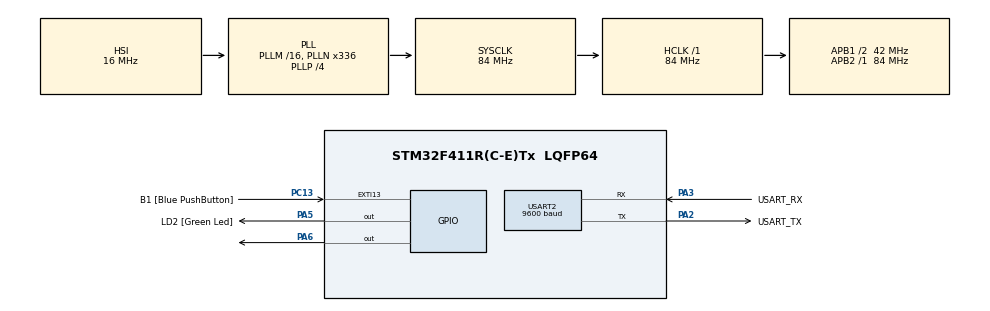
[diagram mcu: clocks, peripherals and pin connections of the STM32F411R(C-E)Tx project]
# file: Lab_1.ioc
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Mcu.Family=STM32F4
Mcu.Name=STM32F411R(C-E)Tx
Mcu.Package=LQFP64
NVIC.PriorityGroup=NVIC_PRIORITYGROUP_0
NVIC.USART2_IRQn=true\:0\:0\:false\:false\:true\:true\:true\:true
PA13.GPIO_Label=TMS
PA13.Mode=Serial_Wire
PA13.Signal=SYS_JTMS-SWDIO
PA14.GPIO_Label=TCK
PA14.Mode=Serial_Wire
PA14.Signal=SYS_JTCK-SWCLK
PA2.GPIO_Label=USART_TX
PA2.Mode=Asynchronous
PA2.Signal=USART2_TX
PA3.GPIO_Label=USART_RX
PA3.Mode=Asynchronous
PA3.Signal=USART2_RX
PA5.GPIO_Label=LD2 [Green Led]
PA5.Signal=GPIO_Output
PA6.Signal=GPIO_Output
PB3.GPIO_Label=SWO
PB3.Signal=SYS_JTDO-SWO
PC13-ANTI_TAMP.GPIO_Label=B1 [Blue PushButton]
PC13-ANTI_TAMP.GPIO_ModeDefaultEXTI=GPIO_MODE_IT_FALLING
PC13-ANTI_TAMP.Signal=GPXTI13
PC14-OSC32_IN.Mode=LSE-External-Oscillator
PC14-OSC32_IN.Signal=RCC_OSC32_IN
PC15-OSC32_OUT.Mode=LSE-External-Oscillator
PC15-OSC32_OUT.Signal=RCC_OSC32_OUT
PH0\ -\ OSC_IN.Mode=HSE-External-Oscillator
PH0\ -\ OSC_IN.Signal=RCC_OSC_IN
PH1\ -\ OSC_OUT.Mode=HSE-External-Oscillator
PH1\ -\ OSC_OUT.Signal=RCC_OSC_OUT
ProjectManager.HeapSize=0x200
ProjectManager.StackSize=0x400
ProjectManager.TargetToolchain=STM32CubeIDE
RCC.48MHZClocksFreq_Value=84000000
RCC.AHBFreq_Value=84000000
RCC.APB1CLKDivider=RCC_HCLK_DIV2
RCC.APB1Freq_Value=42000000
RCC.APB1TimFreq_Value=84000000
RCC.APB2Freq_Value=84000000
RCC.APB2TimFreq_Value=84000000
RCC.CortexFreq_Value=84000000
RCC.FLatency-AdvancedSettings=FLASH_LATENCY_2
RCC.HCLKFreq_Value=84000000
RCC.HSE_VALUE=8000000
RCC.HSI_VALUE=16000000
RCC.PLLN=336
RCC.PLLP=RCC_PLLP_DIV4
RCC.SYSCLKFreq_VALUE=84000000
RCC.SYSCLKSource=RCC_SYSCLKSOURCE_PLLCLK
RCC.VCOOutputFreq_Value=336000000
USART2.BaudRate=9600
USART2.VirtualMode=VM_ASYNC
board=NUCLEO-F411RE

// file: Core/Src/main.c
/* USER CODE BEGIN Header */
/**
  ******************************************************************************
  * @file           : main.c
  * @brief          : Main program body
  ******************************************************************************
  * @attention
  *
  * Copyright (c) 2023 STMicroelectronics.
  * All rights reserved.
  *
  * This software is licensed under terms that can be found in the LICENSE file
  * in the root directory of this software component.
  * If no LICENSE file comes with this software, it is provided AS-IS.
  *
  ******************************************************************************
  */
/* USER CODE END Header */
#include "main.h"

UART_HandleTypeDef huart2;

/* USER CODE BEGIN PV */
uint8_t byte;
/* USER CODE END PV */

void SystemClock_Config(void);
static void MX_GPIO_Init(void);
static void MX_USART2_UART_Init(void);

int main(void)
{

  /* MCU Configuration--------------------------------------------------------*/

  /* Reset of all peripherals, Initializes the Flash interface and the Systick. */
  HAL_Init();

  /* Configure the system clock */
  SystemClock_Config();

  /* Initialize all configured peripherals */
  MX_GPIO_Init();
  MX_USART2_UART_Init();
  /* USER CODE BEGIN 2 */
  HAL_UART_Receive_IT(&huart2, &byte, 1);
  /* USER CODE END 2 */

  /* Infinite loop */
  while (1)
  {

  }
}

void SystemClock_Config(void)
{
  RCC_OscInitTypeDef RCC_OscInitStruct = {0};
  RCC_ClkInitTypeDef RCC_ClkInitStruct = {0};

  /** Configure the main internal regulator output voltage
  */
  __HAL_RCC_PWR_CLK_ENABLE();
  __HAL_PWR_VOLTAGESCALING_CONFIG(PWR_REGULATOR_VOLTAGE_SCALE1);

  /** Initializes the RCC Oscillators according to the specified parameters
  * in the RCC_OscInitTypeDef structure.
  */
  RCC_OscInitStruct.OscillatorType = RCC_OSCILLATORTYPE_HSI;
  RCC_OscInitStruct.HSIState = RCC_HSI_ON;
  RCC_OscInitStruct.HSICalibrationValue = RCC_HSICALIBRATION_DEFAULT;
  RCC_OscInitStruct.PLL.PLLState = RCC_PLL_ON;
  RCC_OscInitStruct.PLL.PLLSource = RCC_PLLSOURCE_HSI;
  RCC_OscInitStruct.PLL.PLLM = 16;
  RCC_OscInitStruct.PLL.PLLN = 336;
  RCC_OscInitStruct.PLL.PLLP = RCC_PLLP_DIV4;
  RCC_OscInitStruct.PLL.PLLQ = 4;
  if (HAL_RCC_OscConfig(&RCC_OscInitStruct) != HAL_OK)
  {
    Error_Handler();
  }

  /** Initializes the CPU, AHB and APB buses clocks
  */
  RCC_ClkInitStruct.ClockType = RCC_CLOCKTYPE_HCLK|RCC_CLOCKTYPE_SYSCLK
                              |RCC_CLOCKTYPE_PCLK1|RCC_CLOCKTYPE_PCLK2;
  RCC_ClkInitStruct.SYSCLKSource = RCC_SYSCLKSOURCE_PLLCLK;
  RCC_ClkInitStruct.AHBCLKDivider = RCC_SYSCLK_DIV1;
  RCC_ClkInitStruct.APB1CLKDivider = RCC_HCLK_DIV2;
  RCC_ClkInitStruct.APB2CLKDivider = RCC_HCLK_DIV1;

  if (HAL_RCC_ClockConfig(&RCC_ClkInitStruct, FLASH_LATENCY_2) != HAL_OK)
  {
    Error_Handler();
  }
}

static void MX_USART2_UART_Init(void)
{

  /* USER CODE BEGIN USART2_Init 0 */
	__USART2_CLK_ENABLE();
  /* USER CODE END USART2_Init 0 */

  huart2.Instance = USART2;
  huart2.Init.BaudRate = 9600;
  huart2.Init.WordLength = UART_WORDLENGTH_8B;
  huart2.Init.StopBits = UART_STOPBITS_1;
  huart2.Init.Parity = UART_PARITY_NONE;
  huart2.Init.Mode = UART_MODE_TX_RX;
  huart2.Init.HwFlowCtl = UART_HWCONTROL_NONE;
  huart2.Init.OverSampling = UART_OVERSAMPLING_16;
  if (HAL_UART_Init(&huart2) != HAL_OK)
  {
    Error_Handler();
  }
  /* USER CODE BEGIN USART2_Init 2 */
  HAL_NVIC_SetPriority(USART2_IRQn, 0, 0);
  HAL_NVIC_EnableIRQ(USART2_IRQn);
  /* USER CODE END USART2_Init 2 */

}

static void MX_GPIO_Init(void)
{
  GPIO_InitTypeDef GPIO_InitStruct = {0};

  /* GPIO Ports Clock Enable */
  __HAL_RCC_GPIOC_CLK_ENABLE();
  __HAL_RCC_GPIOH_CLK_ENABLE();
  __HAL_RCC_GPIOA_CLK_ENABLE();
  __HAL_RCC_GPIOB_CLK_ENABLE();

  /*Configure GPIO pin Output Level */
  HAL_GPIO_WritePin(GPIOA, LD2_Pin|GPIO_PIN_6, GPIO_PIN_RESET);

  /*Configure GPIO pin : B1_Pin */
  GPIO_InitStruct.Pin = B1_Pin;
  GPIO_InitStruct.Mode = GPIO_MODE_IT_FALLING;
  GPIO_InitStruct.Pull = GPIO_NOPULL;
  HAL_GPIO_Init(B1_GPIO_Port, &GPIO_InitStruct);

  /*Configure GPIO pins : LD2_Pin PA6 */
  GPIO_InitStruct.Pin = LD2_Pin|GPIO_PIN_6;
  GPIO_InitStruct.Mode = GPIO_MODE_OUTPUT_PP;
  GPIO_InitStruct.Pull = GPIO_NOPULL;
  GPIO_InitStruct.Speed = GPIO_SPEED_FREQ_LOW;
  HAL_GPIO_Init(GPIOA, &GPIO_InitStruct);

}

/* USER CODE BEGIN 4 */
void HAL_UART_RxCpltCallback(UART_HandleTypeDef *huart)
{
if(huart->Instance == USART2)
{
 HAL_UART_Transmit(&huart2, &byte, 1, 100);
 HAL_UART_Receive_IT(&huart2, &byte, 1);
 if(byte==97)
 {
	 HAL_GPIO_WritePin(GPIOA,GPIO_PIN_5,GPIO_PIN_SET);
	    HAL_GPIO_WritePin(GPIOA,GPIO_PIN_6,GPIO_PIN_SET);
 }
 if(byte==101)
 {
	 HAL_GPIO_WritePin(GPIOA,GPIO_PIN_5,GPIO_PIN_RESET);
	    HAL_GPIO_WritePin(GPIOA,GPIO_PIN_6,GPIO_PIN_RESET);
 }
}
}
/* USER CODE END 4 */

void Error_Handler(void)
{
  __disable_irq();
  while (1)
  {
  }
}
